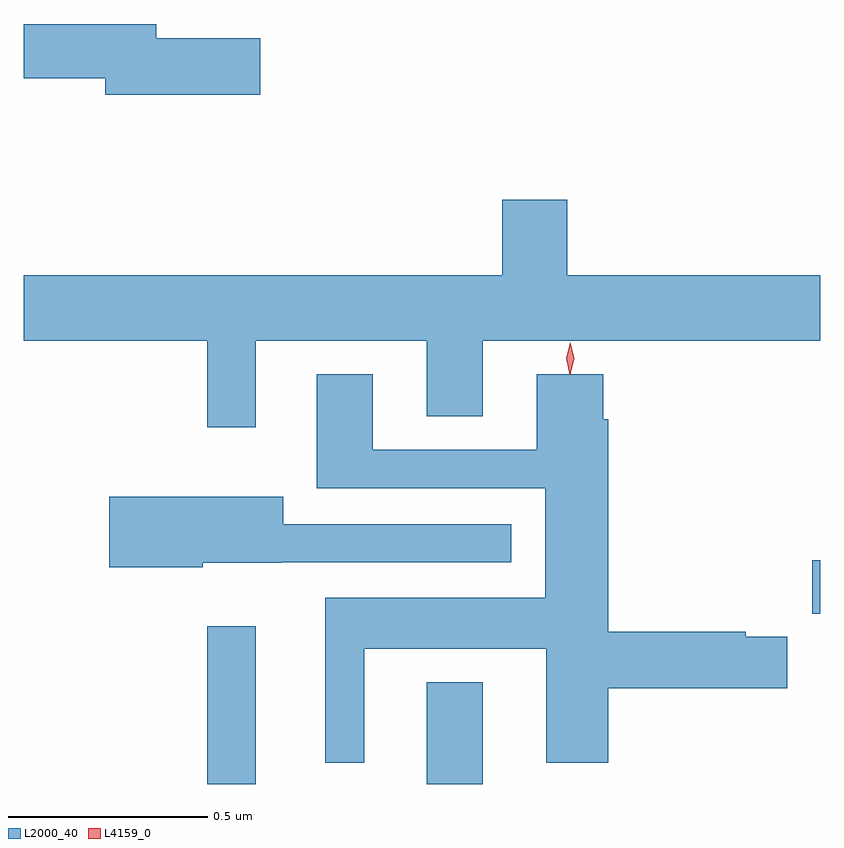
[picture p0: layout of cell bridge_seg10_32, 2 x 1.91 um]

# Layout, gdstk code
import gdstk
lib = gdstk.Library(unit=1e-6, precision=1e-09)
def R(c, l, rs):  # rectangles x0, y0, x1, y1
    for r in rs: c.add(gdstk.rectangle(r[:2], r[2:], *l))
def P(c, l, *ps):  # polygons
    for p in ps: c.add(gdstk.Polygon(p, *l))
L2000_40 = (2000, 40)
L4159_0 = (4159, 0)

bridge_seg10_32 = lib.new_cell('bridge_seg10_32')
R(bridge_seg10_32, L2000_40, [(943.488,1292.542,943.609,1292.938), (944.039,1292.542,944.179,1292.797), (945.007,1292.97,945.027,1293.104)])
P(bridge_seg10_32, L2000_40, [(943.621,1294.415),(943.36,1294.415),(943.36,1294.451),(943.027,1294.451),(943.027,1294.315),(943.232,1294.315),(943.232,1294.273),(943.621,1294.273)],
  [(943.609,1293.656),(944.039,1293.656),(944.039,1293.466),(944.179,1293.466),(944.179,1293.656),(945.027,1293.656),(945.027,1293.82),(944.392,1293.82),(944.392,1294.009),(944.228,1294.009),(944.228,1293.82),(943.027,1293.82),(943.027,1293.656),(943.488,1293.656),(943.488,1293.438),(943.609,1293.438)],
  [(943.882,1292.882),(944.339,1292.882),(944.339,1292.595),(944.495,1292.595),(944.495,1292.782),(944.945,1292.782),(944.945,1292.912),(944.84,1292.912),(944.84,1292.924),(944.495,1292.924),(944.495,1293.458),(944.482,1293.458),(944.482,1293.571),(944.315,1293.571),(944.315,1293.381),(943.903,1293.381),(943.903,1293.571),(943.763,1293.571),(943.763,1293.285),(944.336,1293.285),(944.336,1293.01),(943.784,1293.01),(943.784,1292.595),(943.882,1292.595)],
  [(943.476,1293.098),(943.674,1293.098),(943.674,1293.099),(944.251,1293.099),(944.251,1293.195),(943.678,1293.195),(943.678,1293.264),(943.242,1293.264),(943.242,1293.086),(943.476,1293.086)])
P(bridge_seg10_32, L4159_0, [(944.398,1293.57),(944.389,1293.611),(944.399,1293.652),(944.399,1293.652),(944.399,1293.652),(944.409,1293.611),(944.399,1293.57),(944.399,1293.57)])

lib.write_gds('bridge_seg10_32.gds')
